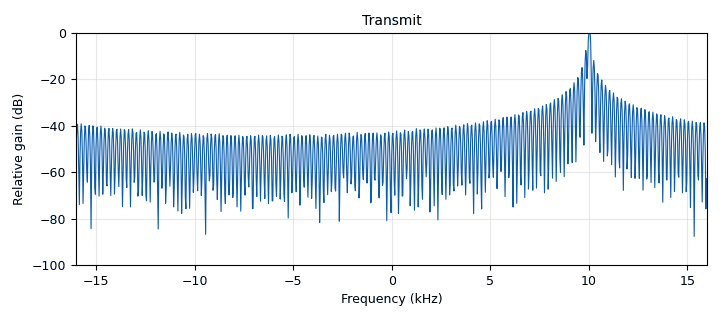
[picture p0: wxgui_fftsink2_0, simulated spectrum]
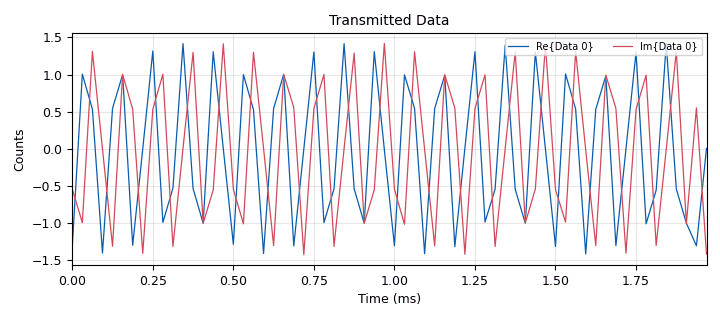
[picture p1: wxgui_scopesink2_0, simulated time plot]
<?xml version='1.0' encoding='utf-8'?>
<flow_graph>
<block>
<key>options</key>
<param><key>id</key><value>top_block</value></param>
<param><key>generate_options</key><value>wx_gui</value></param>
<param><key>category</key><value>Custom</value></param>
</block>
<block>
<key>variable</key>
<param><key>id</key><value>samp_rate</value></param>
<param><key>value</key><value>32000</value></param>
</block>
<block>
<key>wxgui_fftsink2</key>
<param><key>id</key><value>wxgui_fftsink2_0</value></param>
<param><key>type</key><value>complex</value></param>
<param><key>title</key><value>Transmit</value></param>
<param><key>samp_rate</key><value>samp_rate</value></param>
<param><key>baseband_freq</key><value>0</value></param>
<param><key>y_per_div</key><value>10</value></param>
<param><key>y_divs</key><value>10</value></param>
<param><key>ref_level</key><value>0</value></param>
<param><key>ref_scale</key><value>2.0</value></param>
<param><key>fft_size</key><value>1024</value></param>
<param><key>fft_rate</key><value>15</value></param>
<param><key>peak_hold</key><value>False</value></param>
<param><key>average</key><value>False</value></param>
<param><key>avg_alpha</key><value>0</value></param>
<param><key>win</key><value>None</value></param>
<param><key>freqvar</key><value>None</value></param>
</block>
<block>
<key>low_pass_filter</key>
<param><key>id</key><value>low_pass_filter_0</value></param>
<param><key>_enabled</key><value>False</value></param>
<param><key>type</key><value>interp_fir_filter_ccf</value></param>
<param><key>interp</key><value>1</value></param>
<param><key>gain</key><value>1</value></param>
<param><key>samp_rate</key><value>samp_rate</value></param>
<param><key>cutoff_freq</key><value>10000</value></param>
<param><key>width</key><value>1000</value></param>
<param><key>win</key><value>firdes.WIN_HAMMING</value></param>
</block>
<block>
<key>root_raised_cosine_filter</key>
<param><key>id</key><value>root_raised_cosine_filter_0</value></param>
<param><key>_enabled</key><value>False</value></param>
<param><key>type</key><value>interp_fir_filter_ccf</value></param>
<param><key>interp</key><value>1</value></param>
<param><key>gain</key><value>1</value></param>
<param><key>samp_rate</key><value>samp_rate</value></param>
<param><key>sym_rate</key><value>1.0</value></param>
<param><key>alpha</key><value>0.35</value></param>
<param><key>ntaps</key><value>taps</value></param>
</block>
<block>
<key>blocks_throttle</key>
<param><key>id</key><value>blocks_throttle_0_0</value></param>
<param><key>_enabled</key><value>False</value></param>
<param><key>type</key><value>complex</value></param>
<param><key>samples_per_second</key><value>samp_rate</value></param>
</block>
<block>
<key>wxgui_fftsink2</key>
<param><key>id</key><value>wxgui_fftsink2_1</value></param>
<param><key>_enabled</key><value>False</value></param>
<param><key>type</key><value>complex</value></param>
<param><key>title</key><value>Receive</value></param>
<param><key>samp_rate</key><value>samp_rate</value></param>
<param><key>baseband_freq</key><value>0</value></param>
<param><key>y_per_div</key><value>10</value></param>
<param><key>y_divs</key><value>10</value></param>
<param><key>ref_level</key><value>0</value></param>
<param><key>ref_scale</key><value>2.0</value></param>
<param><key>fft_size</key><value>1024</value></param>
<param><key>fft_rate</key><value>15</value></param>
<param><key>peak_hold</key><value>False</value></param>
<param><key>average</key><value>False</value></param>
<param><key>avg_alpha</key><value>0</value></param>
<param><key>win</key><value>None</value></param>
<param><key>freqvar</key><value>None</value></param>
</block>
<block>
<key>wxgui_scopesink2</key>
<param><key>id</key><value>wxgui_scopesink2_0_1</value></param>
<param><key>_enabled</key><value>False</value></param>
<param><key>type</key><value>complex</value></param>
<param><key>title</key><value>Received Data</value></param>
<param><key>samp_rate</key><value>samp_rate</value></param>
<param><key>v_scale</key><value>0</value></param>
<param><key>v_offset</key><value>0</value></param>
<param><key>t_scale</key><value>0</value></param>
<param><key>ac_couple</key><value>False</value></param>
<param><key>xy_mode</key><value>False</value></param>
<param><key>num_inputs</key><value>1</value></param>
<param><key>trig_mode</key><value>wxgui.TRIG_MODE_AUTO</value></param>
<param><key>y_axis_label</key><value>Counts</value></param>
</block>
<block>
<key>blocks_multiply_xx</key>
<param><key>id</key><value>blocks_multiply_xx_0</value></param>
<param><key>type</key><value>complex</value></param>
</block>
<block>
<key>blocks_throttle</key>
<param><key>id</key><value>blocks_throttle_0</value></param>
<param><key>type</key><value>complex</value></param>
<param><key>samples_per_second</key><value>samp_rate</value></param>
</block>
<block>
<key>blocks_multiply_xx</key>
<param><key>id</key><value>blocks_multiply_xx_1</value></param>
<param><key>_enabled</key><value>False</value></param>
<param><key>type</key><value>complex</value></param>
</block>
<block>
<key>variable_slider</key>
<param><key>id</key><value>taps</value></param>
<param><key>label</key><value>Taps</value></param>
<param><key>value</key><value>5</value></param>
<param><key>min</key><value>0</value></param>
<param><key>max</key><value>100</value></param>
<param><key>num_steps</key><value>100</value></param>
<param><key>style</key><value>wx.SL_HORIZONTAL</value></param>
<param><key>converver</key><value>int_converter</value></param>
</block>
<block>
<key>variable_slider</key>
<param><key>id</key><value>noise</value></param>
<param><key>label</key><value>Noise</value></param>
<param><key>value</key><value>10e-3</value></param>
<param><key>min</key><value>0</value></param>
<param><key>max</key><value>1</value></param>
<param><key>num_steps</key><value>100</value></param>
<param><key>style</key><value>wx.SL_HORIZONTAL</value></param>
<param><key>converver</key><value>float_converter</value></param>
</block>
<block>
<key>channels_channel_model</key>
<param><key>id</key><value>channels_channel_model_0</value></param>
<param><key>noise_voltage</key><value>noise</value></param>
<param><key>freq_offset</key><value>0.0</value></param>
<param><key>epsilon</key><value>1.0</value></param>
<param><key>taps</key><value>1.0 + 1.0j</value></param>
<param><key>seed</key><value>0</value></param>
</block>
<block>
<key>analog_sig_source_x</key>
<param><key>id</key><value>analog_sig_source_x_1</value></param>
<param><key>type</key><value>complex</value></param>
<param><key>samp_rate</key><value>samp_rate</value></param>
<param><key>waveform</key><value>analog.GR_SIN_WAVE</value></param>
<param><key>freq</key><value>10000</value></param>
<param><key>amp</key><value>1</value></param>
<param><key>offset</key><value>0</value></param>
</block>
<block>
<key>wxgui_scopesink2</key>
<param><key>id</key><value>wxgui_scopesink2_0_2</value></param>
<param><key>_enabled</key><value>False</value></param>
<param><key>type</key><value>complex</value></param>
<param><key>title</key><value>Carrier</value></param>
<param><key>samp_rate</key><value>samp_rate</value></param>
<param><key>v_scale</key><value>0</value></param>
<param><key>v_offset</key><value>0</value></param>
<param><key>t_scale</key><value>0</value></param>
<param><key>ac_couple</key><value>False</value></param>
<param><key>xy_mode</key><value>False</value></param>
<param><key>num_inputs</key><value>1</value></param>
<param><key>trig_mode</key><value>wxgui.TRIG_MODE_AUTO</value></param>
<param><key>y_axis_label</key><value>Counts</value></param>
</block>
<block>
<key>wxgui_scopesink2</key>
<param><key>id</key><value>wxgui_scopesink2_0</value></param>
<param><key>type</key><value>complex</value></param>
<param><key>title</key><value>Transmitted Data</value></param>
<param><key>samp_rate</key><value>samp_rate</value></param>
<param><key>v_scale</key><value>0</value></param>
<param><key>v_offset</key><value>0</value></param>
<param><key>t_scale</key><value>0</value></param>
<param><key>ac_couple</key><value>False</value></param>
<param><key>xy_mode</key><value>False</value></param>
<param><key>num_inputs</key><value>1</value></param>
<param><key>trig_mode</key><value>wxgui.TRIG_MODE_AUTO</value></param>
<param><key>y_axis_label</key><value>Counts</value></param>
</block>
<block>
<key>wxgui_scopesink2</key>
<param><key>id</key><value>wxgui_scopesink2_0_0</value></param>
<param><key>_enabled</key><value>False</value></param>
<param><key>type</key><value>complex</value></param>
<param><key>title</key><value>Data</value></param>
<param><key>samp_rate</key><value>samp_rate</value></param>
<param><key>v_scale</key><value>0</value></param>
<param><key>v_offset</key><value>0</value></param>
<param><key>t_scale</key><value>0</value></param>
<param><key>ac_couple</key><value>False</value></param>
<param><key>xy_mode</key><value>False</value></param>
<param><key>num_inputs</key><value>1</value></param>
<param><key>trig_mode</key><value>wxgui.TRIG_MODE_AUTO</value></param>
<param><key>y_axis_label</key><value>Counts</value></param>
</block>
<block>
<key>analog_sig_source_x</key>
<param><key>id</key><value>analog_sig_source_x_0</value></param>
<param><key>type</key><value>complex</value></param>
<param><key>samp_rate</key><value>samp_rate</value></param>
<param><key>waveform</key><value>analog.GR_SQR_WAVE</value></param>
<param><key>freq</key><value>50</value></param>
<param><key>amp</key><value>2</value></param>
<param><key>offset</key><value>-1</value></param>
</block>
<connection><source_block_id>analog_sig_source_x_1</source_block_id><sink_block_id>blocks_multiply_xx_0</sink_block_id><source_key>0</source_key><sink_key>1</sink_key></connection>
<connection><source_block_id>analog_sig_source_x_0</source_block_id><sink_block_id>blocks_multiply_xx_0</sink_block_id><source_key>0</source_key><sink_key>0</sink_key></connection>
<connection><source_block_id>analog_sig_source_x_1</source_block_id><sink_block_id>blocks_multiply_xx_1</sink_block_id><source_key>0</source_key><sink_key>1</sink_key></connection>
<connection><source_block_id>blocks_throttle_0</source_block_id><sink_block_id>wxgui_fftsink2_0</sink_block_id><source_key>0</source_key><sink_key>0</sink_key></connection>
<connection><source_block_id>blocks_multiply_xx_1</source_block_id><sink_block_id>low_pass_filter_0</sink_block_id><source_key>0</source_key><sink_key>0</sink_key></connection>
<connection><source_block_id>blocks_multiply_xx_1</source_block_id><sink_block_id>root_raised_cosine_filter_0</sink_block_id><source_key>0</source_key><sink_key>0</sink_key></connection>
<connection><source_block_id>blocks_throttle_0</source_block_id><sink_block_id>wxgui_scopesink2_0</sink_block_id><source_key>0</source_key><sink_key>0</sink_key></connection>
<connection><source_block_id>analog_sig_source_x_0</source_block_id><sink_block_id>wxgui_scopesink2_0_0</sink_block_id><source_key>0</source_key><sink_key>0</sink_key></connection>
<connection><source_block_id>root_raised_cosine_filter_0</source_block_id><sink_block_id>blocks_throttle_0_0</sink_block_id><source_key>0</source_key><sink_key>0</sink_key></connection>
<connection><source_block_id>low_pass_filter_0</source_block_id><sink_block_id>blocks_throttle_0_0</sink_block_id><source_key>0</source_key><sink_key>0</sink_key></connection>
<connection><source_block_id>blocks_throttle_0_0</source_block_id><sink_block_id>wxgui_scopesink2_0_1</sink_block_id><source_key>0</source_key><sink_key>0</sink_key></connection>
<connection><source_block_id>blocks_throttle_0_0</source_block_id><sink_block_id>wxgui_fftsink2_1</sink_block_id><source_key>0</source_key><sink_key>0</sink_key></connection>
<connection><source_block_id>blocks_multiply_xx_0</source_block_id><sink_block_id>channels_channel_model_0</sink_block_id><source_key>0</source_key><sink_key>0</sink_key></connection>
<connection><source_block_id>channels_channel_model_0</source_block_id><sink_block_id>blocks_throttle_0</sink_block_id><source_key>0</source_key><sink_key>0</sink_key></connection>
<connection><source_block_id>channels_channel_model_0</source_block_id><sink_block_id>blocks_multiply_xx_1</sink_block_id><source_key>0</source_key><sink_key>0</sink_key></connection>
<connection><source_block_id>analog_sig_source_x_1</source_block_id><sink_block_id>wxgui_scopesink2_0_2</sink_block_id><source_key>0</source_key><sink_key>0</sink_key></connection>
</flow_graph>
